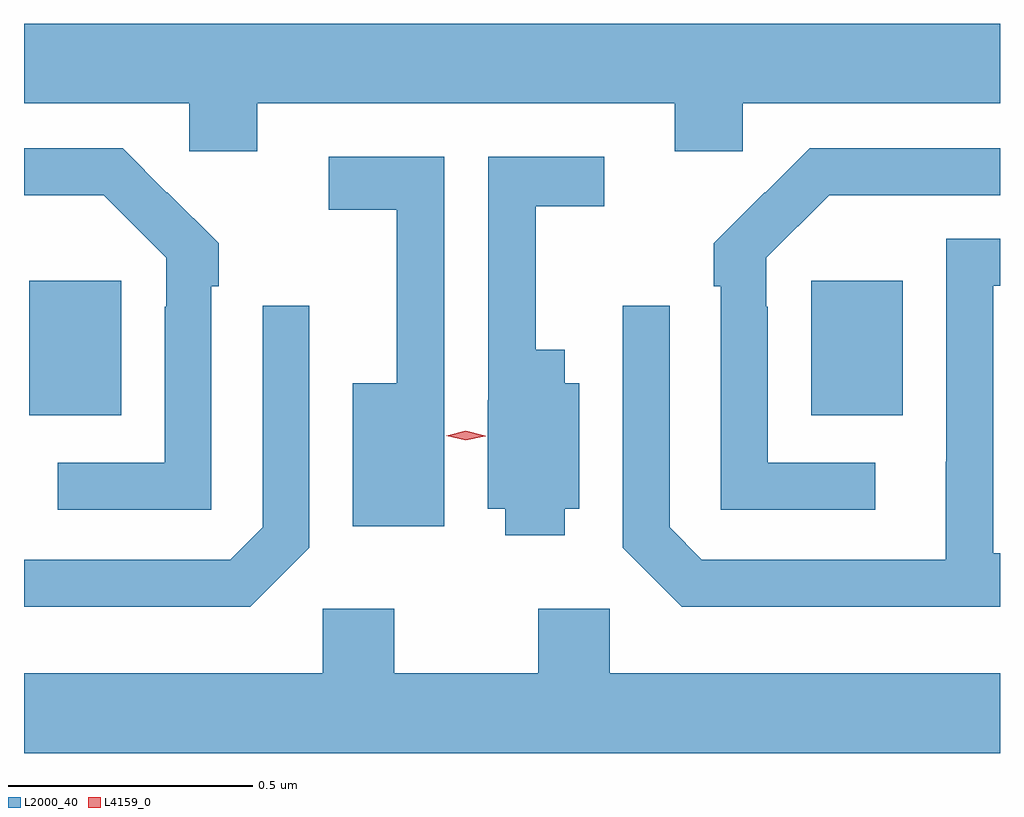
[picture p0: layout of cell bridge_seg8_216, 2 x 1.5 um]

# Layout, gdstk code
import gdstk
lib = gdstk.Library(unit=1e-6, precision=1e-09)
def R(c, l, rs):  # rectangles x0, y0, x1, y1
    for r in rs: c.add(gdstk.rectangle(r[:2], r[2:], *l))
def P(c, l, *ps):  # polygons
    for p in ps: c.add(gdstk.Polygon(p, *l))
L2000_40 = (2000, 40)
L4159_0 = (4159, 0)

bridge_seg8_216 = lib.new_cell('bridge_seg8_216')
R(bridge_seg8_216, L2000_40, [(148.211,1103.873,148.399,1104.148), (149.813,1103.873,150.001,1104.148)])
P(bridge_seg8_216, L2000_40, [(148.678,1104.512),(149.534,1104.512),(149.534,1104.414),(149.673,1104.414),(149.673,1104.512),(150.2,1104.512),(150.2,1104.675),(148.2,1104.675),(148.2,1104.512),(148.539,1104.512),(148.539,1104.414),(148.678,1104.414)],
  [(148.584,1104.137),(148.599,1104.137),(148.599,1104.225),(148.494,1104.33),(148.493,1104.329),(148.402,1104.42),(148.2,1104.42),(148.2,1104.324),(148.363,1104.324),(148.491,1104.195),(148.491,1104.095),(148.488,1104.095),(148.488,1103.775),(148.269,1103.775),(148.269,1103.679),(148.584,1103.679)],
  [(149.944,1103.775),(149.724,1103.775),(149.724,1104.095),(149.721,1104.095),(149.721,1104.195),(149.85,1104.324),(150.2,1104.324),(150.2,1104.42),(149.81,1104.42),(149.719,1104.329),(149.718,1104.33),(149.613,1104.225),(149.613,1104.137),(149.628,1104.137),(149.628,1103.679),(149.944,1103.679)],
  [(149.061,1104.402),(148.824,1104.402),(148.824,1104.294),(148.964,1104.294),(148.964,1103.938),(148.874,1103.938),(148.874,1103.645),(149.061,1103.645)],
  [(149.308,1103.681),(149.338,1103.681),(149.338,1103.938),(149.308,1103.938),(149.308,1104.007),(149.249,1104.007),(149.249,1104.301),(149.389,1104.301),(149.389,1104.402),(149.151,1104.402),(149.151,1103.903),(149.15,1103.903),(149.15,1103.681),(149.186,1103.681),(149.186,1103.627),(149.308,1103.627)],
  [(150.2,1103.59),(150.186,1103.59),(150.186,1104.138),(150.2,1104.138),(150.2,1104.234),(150.09,1104.234),(150.09,1103.777),(150.089,1103.777),(150.089,1103.577),(149.589,1103.577),(149.523,1103.643),(149.523,1104.097),(149.427,1104.097),(149.427,1103.601),(149.548,1103.48),(150.2,1103.48)],
  [(148.785,1103.601),(148.785,1104.097),(148.689,1104.097),(148.689,1103.643),(148.623,1103.577),(148.2,1103.577),(148.2,1103.48),(148.664,1103.48)],
  [(150.2,1103.344),(149.4,1103.344),(149.4,1103.476),(149.254,1103.476),(149.254,1103.344),(148.959,1103.344),(148.959,1103.476),(148.812,1103.476),(148.812,1103.344),(148.2,1103.344),(148.2,1103.18),(150.2,1103.18)])
P(bridge_seg8_216, L4159_0, [(149.105,1103.821),(149.065,1103.831),(149.064,1103.831),(149.065,1103.831),(149.105,1103.841),(149.145,1103.831),(149.146,1103.83),(149.145,1103.83)])

lib.write_gds('bridge_seg8_216.gds')
